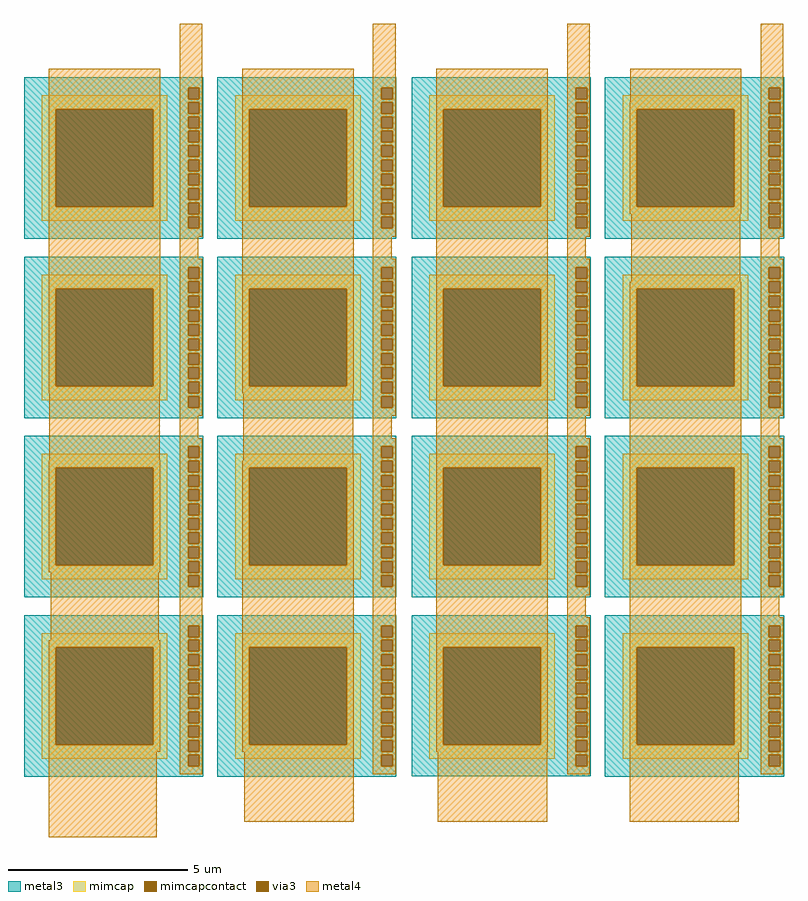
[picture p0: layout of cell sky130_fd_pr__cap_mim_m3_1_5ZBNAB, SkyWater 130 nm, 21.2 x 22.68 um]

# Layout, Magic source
magic
tech sky130A
magscale 1 2
<< metal3 >>
rect -2088 1892 -1089 1950
rect -2088 1828 -1173 1892
rect -1109 1828 -1089 1892
rect -2088 1812 -1089 1828
rect -2088 1748 -1173 1812
rect -1109 1748 -1089 1812
rect -2088 1732 -1089 1748
rect -2088 1668 -1173 1732
rect -1109 1668 -1089 1732
rect -2088 1652 -1089 1668
rect -2088 1588 -1173 1652
rect -1109 1588 -1089 1652
rect -2088 1572 -1089 1588
rect -2088 1508 -1173 1572
rect -1109 1508 -1089 1572
rect -2088 1492 -1089 1508
rect -2088 1428 -1173 1492
rect -1109 1428 -1089 1492
rect -2088 1412 -1089 1428
rect -2088 1348 -1173 1412
rect -1109 1348 -1089 1412
rect -2088 1332 -1089 1348
rect -2088 1268 -1173 1332
rect -1109 1268 -1089 1332
rect -2088 1252 -1089 1268
rect -2088 1188 -1173 1252
rect -1109 1188 -1089 1252
rect -2088 1172 -1089 1188
rect -2088 1108 -1173 1172
rect -1109 1108 -1089 1172
rect -2088 1050 -1089 1108
rect -1009 1892 -10 1950
rect -1009 1828 -94 1892
rect -30 1828 -10 1892
rect -1009 1812 -10 1828
rect -1009 1748 -94 1812
rect -30 1748 -10 1812
rect -1009 1732 -10 1748
rect -1009 1668 -94 1732
rect -30 1668 -10 1732
rect -1009 1652 -10 1668
rect -1009 1588 -94 1652
rect -30 1588 -10 1652
rect -1009 1572 -10 1588
rect -1009 1508 -94 1572
rect -30 1508 -10 1572
rect -1009 1492 -10 1508
rect -1009 1428 -94 1492
rect -30 1428 -10 1492
rect -1009 1412 -10 1428
rect -1009 1348 -94 1412
rect -30 1348 -10 1412
rect -1009 1332 -10 1348
rect -1009 1268 -94 1332
rect -30 1268 -10 1332
rect -1009 1252 -10 1268
rect -1009 1188 -94 1252
rect -30 1188 -10 1252
rect -1009 1172 -10 1188
rect -1009 1108 -94 1172
rect -30 1108 -10 1172
rect -1009 1050 -10 1108
rect 74 1892 1073 1950
rect 74 1828 989 1892
rect 1053 1828 1073 1892
rect 74 1812 1073 1828
rect 74 1748 989 1812
rect 1053 1748 1073 1812
rect 74 1732 1073 1748
rect 74 1668 989 1732
rect 1053 1668 1073 1732
rect 74 1652 1073 1668
rect 74 1588 989 1652
rect 1053 1588 1073 1652
rect 74 1572 1073 1588
rect 74 1508 989 1572
rect 1053 1508 1073 1572
rect 74 1492 1073 1508
rect 74 1428 989 1492
rect 1053 1428 1073 1492
rect 74 1412 1073 1428
rect 74 1348 989 1412
rect 1053 1348 1073 1412
rect 74 1332 1073 1348
rect 74 1268 989 1332
rect 1053 1268 1073 1332
rect 74 1252 1073 1268
rect 74 1188 989 1252
rect 1053 1188 1073 1252
rect 74 1172 1073 1188
rect 74 1108 989 1172
rect 1053 1108 1073 1172
rect 74 1050 1073 1108
rect 1153 1892 2152 1950
rect 1153 1828 2068 1892
rect 2132 1828 2152 1892
rect 1153 1812 2152 1828
rect 1153 1748 2068 1812
rect 2132 1748 2152 1812
rect 1153 1732 2152 1748
rect 1153 1668 2068 1732
rect 2132 1668 2152 1732
rect 1153 1652 2152 1668
rect 1153 1588 2068 1652
rect 2132 1588 2152 1652
rect 1153 1572 2152 1588
rect 1153 1508 2068 1572
rect 2132 1508 2152 1572
rect 1153 1492 2152 1508
rect 1153 1428 2068 1492
rect 2132 1428 2152 1492
rect 1153 1412 2152 1428
rect 1153 1348 2068 1412
rect 2132 1348 2152 1412
rect 1153 1332 2152 1348
rect 1153 1268 2068 1332
rect 2132 1268 2152 1332
rect 1153 1252 2152 1268
rect 1153 1188 2068 1252
rect 2132 1188 2152 1252
rect 1153 1172 2152 1188
rect 1153 1108 2068 1172
rect 2132 1108 2152 1172
rect 1153 1050 2152 1108
rect -2088 892 -1089 950
rect -2088 828 -1173 892
rect -1109 828 -1089 892
rect -2088 812 -1089 828
rect -2088 748 -1173 812
rect -1109 748 -1089 812
rect -2088 732 -1089 748
rect -2088 668 -1173 732
rect -1109 668 -1089 732
rect -2088 652 -1089 668
rect -2088 588 -1173 652
rect -1109 588 -1089 652
rect -2088 572 -1089 588
rect -2088 508 -1173 572
rect -1109 508 -1089 572
rect -2088 492 -1089 508
rect -2088 428 -1173 492
rect -1109 428 -1089 492
rect -2088 412 -1089 428
rect -2088 348 -1173 412
rect -1109 348 -1089 412
rect -2088 332 -1089 348
rect -2088 268 -1173 332
rect -1109 268 -1089 332
rect -2088 252 -1089 268
rect -2088 188 -1173 252
rect -1109 188 -1089 252
rect -2088 172 -1089 188
rect -2088 108 -1173 172
rect -1109 108 -1089 172
rect -2088 50 -1089 108
rect -1009 892 -10 950
rect -1009 828 -94 892
rect -30 828 -10 892
rect -1009 812 -10 828
rect -1009 748 -94 812
rect -30 748 -10 812
rect -1009 732 -10 748
rect -1009 668 -94 732
rect -30 668 -10 732
rect -1009 652 -10 668
rect -1009 588 -94 652
rect -30 588 -10 652
rect -1009 572 -10 588
rect -1009 508 -94 572
rect -30 508 -10 572
rect -1009 492 -10 508
rect -1009 428 -94 492
rect -30 428 -10 492
rect -1009 412 -10 428
rect -1009 348 -94 412
rect -30 348 -10 412
rect -1009 332 -10 348
rect -1009 268 -94 332
rect -30 268 -10 332
rect -1009 252 -10 268
rect -1009 188 -94 252
rect -30 188 -10 252
rect -1009 172 -10 188
rect -1009 108 -94 172
rect -30 108 -10 172
rect -1009 50 -10 108
rect 74 892 1073 950
rect 74 828 989 892
rect 1053 828 1073 892
rect 74 812 1073 828
rect 74 748 989 812
rect 1053 748 1073 812
rect 74 732 1073 748
rect 74 668 989 732
rect 1053 668 1073 732
rect 74 652 1073 668
rect 74 588 989 652
rect 1053 588 1073 652
rect 74 572 1073 588
rect 74 508 989 572
rect 1053 508 1073 572
rect 74 492 1073 508
rect 74 428 989 492
rect 1053 428 1073 492
rect 74 412 1073 428
rect 74 348 989 412
rect 1053 348 1073 412
rect 74 332 1073 348
rect 74 268 989 332
rect 1053 268 1073 332
rect 74 252 1073 268
rect 74 188 989 252
rect 1053 188 1073 252
rect 74 172 1073 188
rect 74 108 989 172
rect 1053 108 1073 172
rect 74 50 1073 108
rect 1153 892 2152 950
rect 1153 828 2068 892
rect 2132 828 2152 892
rect 1153 812 2152 828
rect 1153 748 2068 812
rect 2132 748 2152 812
rect 1153 732 2152 748
rect 1153 668 2068 732
rect 2132 668 2152 732
rect 1153 652 2152 668
rect 1153 588 2068 652
rect 2132 588 2152 652
rect 1153 572 2152 588
rect 1153 508 2068 572
rect 2132 508 2152 572
rect 1153 492 2152 508
rect 1153 428 2068 492
rect 2132 428 2152 492
rect 1153 412 2152 428
rect 1153 348 2068 412
rect 2132 348 2152 412
rect 1153 332 2152 348
rect 1153 268 2068 332
rect 2132 268 2152 332
rect 1153 252 2152 268
rect 1153 188 2068 252
rect 2132 188 2152 252
rect 1153 172 2152 188
rect 1153 108 2068 172
rect 2132 108 2152 172
rect 1153 50 2152 108
rect -2088 -108 -1089 -50
rect -2088 -172 -1173 -108
rect -1109 -172 -1089 -108
rect -2088 -188 -1089 -172
rect -2088 -252 -1173 -188
rect -1109 -252 -1089 -188
rect -2088 -268 -1089 -252
rect -2088 -332 -1173 -268
rect -1109 -332 -1089 -268
rect -2088 -348 -1089 -332
rect -2088 -412 -1173 -348
rect -1109 -412 -1089 -348
rect -2088 -428 -1089 -412
rect -2088 -492 -1173 -428
rect -1109 -492 -1089 -428
rect -2088 -508 -1089 -492
rect -2088 -572 -1173 -508
rect -1109 -572 -1089 -508
rect -2088 -588 -1089 -572
rect -2088 -652 -1173 -588
rect -1109 -652 -1089 -588
rect -2088 -668 -1089 -652
rect -2088 -732 -1173 -668
rect -1109 -732 -1089 -668
rect -2088 -748 -1089 -732
rect -2088 -812 -1173 -748
rect -1109 -812 -1089 -748
rect -2088 -828 -1089 -812
rect -2088 -892 -1173 -828
rect -1109 -892 -1089 -828
rect -2088 -950 -1089 -892
rect -1009 -108 -10 -50
rect -1009 -172 -94 -108
rect -30 -172 -10 -108
rect -1009 -188 -10 -172
rect -1009 -252 -94 -188
rect -30 -252 -10 -188
rect -1009 -268 -10 -252
rect -1009 -332 -94 -268
rect -30 -332 -10 -268
rect -1009 -348 -10 -332
rect -1009 -412 -94 -348
rect -30 -412 -10 -348
rect -1009 -428 -10 -412
rect -1009 -492 -94 -428
rect -30 -492 -10 -428
rect -1009 -508 -10 -492
rect -1009 -572 -94 -508
rect -30 -572 -10 -508
rect -1009 -588 -10 -572
rect -1009 -652 -94 -588
rect -30 -652 -10 -588
rect -1009 -668 -10 -652
rect -1009 -732 -94 -668
rect -30 -732 -10 -668
rect -1009 -748 -10 -732
rect -1009 -812 -94 -748
rect -30 -812 -10 -748
rect -1009 -828 -10 -812
rect -1009 -892 -94 -828
rect -30 -892 -10 -828
rect -1009 -950 -10 -892
rect 74 -108 1073 -50
rect 74 -172 989 -108
rect 1053 -172 1073 -108
rect 74 -188 1073 -172
rect 74 -252 989 -188
rect 1053 -252 1073 -188
rect 74 -268 1073 -252
rect 74 -332 989 -268
rect 1053 -332 1073 -268
rect 74 -348 1073 -332
rect 74 -412 989 -348
rect 1053 -412 1073 -348
rect 74 -428 1073 -412
rect 74 -492 989 -428
rect 1053 -492 1073 -428
rect 74 -508 1073 -492
rect 74 -572 989 -508
rect 1053 -572 1073 -508
rect 74 -588 1073 -572
rect 74 -652 989 -588
rect 1053 -652 1073 -588
rect 74 -668 1073 -652
rect 74 -732 989 -668
rect 1053 -732 1073 -668
rect 74 -748 1073 -732
rect 74 -812 989 -748
rect 1053 -812 1073 -748
rect 74 -828 1073 -812
rect 74 -892 989 -828
rect 1053 -892 1073 -828
rect 74 -950 1073 -892
rect 1153 -108 2152 -50
rect 1153 -172 2068 -108
rect 2132 -172 2152 -108
rect 1153 -188 2152 -172
rect 1153 -252 2068 -188
rect 2132 -252 2152 -188
rect 1153 -268 2152 -252
rect 1153 -332 2068 -268
rect 2132 -332 2152 -268
rect 1153 -348 2152 -332
rect 1153 -412 2068 -348
rect 2132 -412 2152 -348
rect 1153 -428 2152 -412
rect 1153 -492 2068 -428
rect 2132 -492 2152 -428
rect 1153 -508 2152 -492
rect 1153 -572 2068 -508
rect 2132 -572 2152 -508
rect 1153 -588 2152 -572
rect 1153 -652 2068 -588
rect 2132 -652 2152 -588
rect 1153 -668 2152 -652
rect 1153 -732 2068 -668
rect 2132 -732 2152 -668
rect 1153 -748 2152 -732
rect 1153 -812 2068 -748
rect 2132 -812 2152 -748
rect 1153 -828 2152 -812
rect 1153 -892 2068 -828
rect 2132 -892 2152 -828
rect 1153 -950 2152 -892
rect -2088 -1108 -1089 -1050
rect -2088 -1172 -1173 -1108
rect -1109 -1172 -1089 -1108
rect -2088 -1188 -1089 -1172
rect -2088 -1252 -1173 -1188
rect -1109 -1252 -1089 -1188
rect -2088 -1268 -1089 -1252
rect -2088 -1332 -1173 -1268
rect -1109 -1332 -1089 -1268
rect -2088 -1348 -1089 -1332
rect -2088 -1412 -1173 -1348
rect -1109 -1412 -1089 -1348
rect -2088 -1428 -1089 -1412
rect -2088 -1492 -1173 -1428
rect -1109 -1492 -1089 -1428
rect -2088 -1508 -1089 -1492
rect -2088 -1572 -1173 -1508
rect -1109 -1572 -1089 -1508
rect -2088 -1588 -1089 -1572
rect -2088 -1652 -1173 -1588
rect -1109 -1652 -1089 -1588
rect -2088 -1668 -1089 -1652
rect -2088 -1732 -1173 -1668
rect -1109 -1732 -1089 -1668
rect -2088 -1748 -1089 -1732
rect -2088 -1812 -1173 -1748
rect -1109 -1812 -1089 -1748
rect -2088 -1828 -1089 -1812
rect -2088 -1892 -1173 -1828
rect -1109 -1892 -1089 -1828
rect -2088 -1950 -1089 -1892
rect -1009 -1108 -10 -1050
rect -1009 -1172 -94 -1108
rect -30 -1172 -10 -1108
rect -1009 -1188 -10 -1172
rect -1009 -1252 -94 -1188
rect -30 -1252 -10 -1188
rect -1009 -1268 -10 -1252
rect -1009 -1332 -94 -1268
rect -30 -1332 -10 -1268
rect -1009 -1348 -10 -1332
rect -1009 -1412 -94 -1348
rect -30 -1412 -10 -1348
rect -1009 -1428 -10 -1412
rect -1009 -1492 -94 -1428
rect -30 -1492 -10 -1428
rect -1009 -1508 -10 -1492
rect -1009 -1572 -94 -1508
rect -30 -1572 -10 -1508
rect -1009 -1588 -10 -1572
rect -1009 -1652 -94 -1588
rect -30 -1652 -10 -1588
rect -1009 -1668 -10 -1652
rect -1009 -1732 -94 -1668
rect -30 -1732 -10 -1668
rect -1009 -1748 -10 -1732
rect -1009 -1812 -94 -1748
rect -30 -1812 -10 -1748
rect -1009 -1828 -10 -1812
rect -1009 -1892 -94 -1828
rect -30 -1892 -10 -1828
rect -1009 -1950 -10 -1892
rect 74 -1108 1073 -1050
rect 74 -1172 989 -1108
rect 1053 -1172 1073 -1108
rect 74 -1188 1073 -1172
rect 74 -1252 989 -1188
rect 1053 -1252 1073 -1188
rect 74 -1268 1073 -1252
rect 74 -1332 989 -1268
rect 1053 -1332 1073 -1268
rect 74 -1348 1073 -1332
rect 74 -1412 989 -1348
rect 1053 -1412 1073 -1348
rect 74 -1428 1073 -1412
rect 74 -1492 989 -1428
rect 1053 -1492 1073 -1428
rect 74 -1508 1073 -1492
rect 74 -1572 989 -1508
rect 1053 -1572 1073 -1508
rect 74 -1588 1073 -1572
rect 74 -1652 989 -1588
rect 1053 -1652 1073 -1588
rect 74 -1668 1073 -1652
rect 74 -1732 989 -1668
rect 1053 -1732 1073 -1668
rect 74 -1748 1073 -1732
rect 74 -1812 989 -1748
rect 1053 -1812 1073 -1748
rect 74 -1828 1073 -1812
rect 74 -1892 989 -1828
rect 1053 -1892 1073 -1828
rect 74 -1949 1073 -1892
rect 1153 -1108 2152 -1050
rect 1153 -1172 2068 -1108
rect 2132 -1172 2152 -1108
rect 1153 -1188 2152 -1172
rect 1153 -1252 2068 -1188
rect 2132 -1252 2152 -1188
rect 1153 -1268 2152 -1252
rect 1153 -1332 2068 -1268
rect 2132 -1332 2152 -1268
rect 1153 -1348 2152 -1332
rect 1153 -1412 2068 -1348
rect 2132 -1412 2152 -1348
rect 1153 -1428 2152 -1412
rect 1153 -1492 2068 -1428
rect 2132 -1492 2152 -1428
rect 1153 -1508 2152 -1492
rect 1153 -1572 2068 -1508
rect 2132 -1572 2152 -1508
rect 1153 -1588 2152 -1572
rect 1153 -1652 2068 -1588
rect 2132 -1652 2152 -1588
rect 1153 -1668 2152 -1652
rect 1153 -1732 2068 -1668
rect 2132 -1732 2152 -1668
rect 1153 -1748 2152 -1732
rect 1153 -1812 2068 -1748
rect 2132 -1812 2152 -1748
rect 1153 -1828 2152 -1812
rect 1153 -1892 2068 -1828
rect 2132 -1892 2152 -1828
rect 1153 -1950 2152 -1892
<< via3 >>
rect -1173 1828 -1109 1892
rect -1173 1748 -1109 1812
rect -1173 1668 -1109 1732
rect -1173 1588 -1109 1652
rect -1173 1508 -1109 1572
rect -1173 1428 -1109 1492
rect -1173 1348 -1109 1412
rect -1173 1268 -1109 1332
rect -1173 1188 -1109 1252
rect -1173 1108 -1109 1172
rect -94 1828 -30 1892
rect -94 1748 -30 1812
rect -94 1668 -30 1732
rect -94 1588 -30 1652
rect -94 1508 -30 1572
rect -94 1428 -30 1492
rect -94 1348 -30 1412
rect -94 1268 -30 1332
rect -94 1188 -30 1252
rect -94 1108 -30 1172
rect 989 1828 1053 1892
rect 989 1748 1053 1812
rect 989 1668 1053 1732
rect 989 1588 1053 1652
rect 989 1508 1053 1572
rect 989 1428 1053 1492
rect 989 1348 1053 1412
rect 989 1268 1053 1332
rect 989 1188 1053 1252
rect 989 1108 1053 1172
rect 2068 1828 2132 1892
rect 2068 1748 2132 1812
rect 2068 1668 2132 1732
rect 2068 1588 2132 1652
rect 2068 1508 2132 1572
rect 2068 1428 2132 1492
rect 2068 1348 2132 1412
rect 2068 1268 2132 1332
rect 2068 1188 2132 1252
rect 2068 1108 2132 1172
rect -1173 828 -1109 892
rect -1173 748 -1109 812
rect -1173 668 -1109 732
rect -1173 588 -1109 652
rect -1173 508 -1109 572
rect -1173 428 -1109 492
rect -1173 348 -1109 412
rect -1173 268 -1109 332
rect -1173 188 -1109 252
rect -1173 108 -1109 172
rect -94 828 -30 892
rect -94 748 -30 812
rect -94 668 -30 732
rect -94 588 -30 652
rect -94 508 -30 572
rect -94 428 -30 492
rect -94 348 -30 412
rect -94 268 -30 332
rect -94 188 -30 252
rect -94 108 -30 172
rect 989 828 1053 892
rect 989 748 1053 812
rect 989 668 1053 732
rect 989 588 1053 652
rect 989 508 1053 572
rect 989 428 1053 492
rect 989 348 1053 412
rect 989 268 1053 332
rect 989 188 1053 252
rect 989 108 1053 172
rect 2068 828 2132 892
rect 2068 748 2132 812
rect 2068 668 2132 732
rect 2068 588 2132 652
rect 2068 508 2132 572
rect 2068 428 2132 492
rect 2068 348 2132 412
rect 2068 268 2132 332
rect 2068 188 2132 252
rect 2068 108 2132 172
rect -1173 -172 -1109 -108
rect -1173 -252 -1109 -188
rect -1173 -332 -1109 -268
rect -1173 -412 -1109 -348
rect -1173 -492 -1109 -428
rect -1173 -572 -1109 -508
rect -1173 -652 -1109 -588
rect -1173 -732 -1109 -668
rect -1173 -812 -1109 -748
rect -1173 -892 -1109 -828
rect -94 -172 -30 -108
rect -94 -252 -30 -188
rect -94 -332 -30 -268
rect -94 -412 -30 -348
rect -94 -492 -30 -428
rect -94 -572 -30 -508
rect -94 -652 -30 -588
rect -94 -732 -30 -668
rect -94 -812 -30 -748
rect -94 -892 -30 -828
rect 989 -172 1053 -108
rect 989 -252 1053 -188
rect 989 -332 1053 -268
rect 989 -412 1053 -348
rect 989 -492 1053 -428
rect 989 -572 1053 -508
rect 989 -652 1053 -588
rect 989 -732 1053 -668
rect 989 -812 1053 -748
rect 989 -892 1053 -828
rect 2068 -172 2132 -108
rect 2068 -252 2132 -188
rect 2068 -332 2132 -268
rect 2068 -412 2132 -348
rect 2068 -492 2132 -428
rect 2068 -572 2132 -508
rect 2068 -652 2132 -588
rect 2068 -732 2132 -668
rect 2068 -812 2132 -748
rect 2068 -892 2132 -828
rect -1173 -1172 -1109 -1108
rect -1173 -1252 -1109 -1188
rect -1173 -1332 -1109 -1268
rect -1173 -1412 -1109 -1348
rect -1173 -1492 -1109 -1428
rect -1173 -1572 -1109 -1508
rect -1173 -1652 -1109 -1588
rect -1173 -1732 -1109 -1668
rect -1173 -1812 -1109 -1748
rect -1173 -1892 -1109 -1828
rect -94 -1172 -30 -1108
rect -94 -1252 -30 -1188
rect -94 -1332 -30 -1268
rect -94 -1412 -30 -1348
rect -94 -1492 -30 -1428
rect -94 -1572 -30 -1508
rect -94 -1652 -30 -1588
rect -94 -1732 -30 -1668
rect -94 -1812 -30 -1748
rect -94 -1892 -30 -1828
rect 989 -1172 1053 -1108
rect 989 -1252 1053 -1188
rect 989 -1332 1053 -1268
rect 989 -1412 1053 -1348
rect 989 -1492 1053 -1428
rect 989 -1572 1053 -1508
rect 989 -1652 1053 -1588
rect 989 -1732 1053 -1668
rect 989 -1812 1053 -1748
rect 989 -1892 1053 -1828
rect 2068 -1172 2132 -1108
rect 2068 -1252 2132 -1188
rect 2068 -1332 2132 -1268
rect 2068 -1412 2132 -1348
rect 2068 -1492 2132 -1428
rect 2068 -1572 2132 -1508
rect 2068 -1652 2132 -1588
rect 2068 -1732 2132 -1668
rect 2068 -1812 2132 -1748
rect 2068 -1892 2132 -1828
<< mimcap >>
rect -1988 1772 -1288 1850
rect -1988 1228 -1910 1772
rect -1366 1228 -1288 1772
rect -1988 1150 -1288 1228
rect -909 1772 -209 1850
rect -909 1228 -831 1772
rect -287 1228 -209 1772
rect -909 1150 -209 1228
rect 174 1772 874 1850
rect 174 1228 252 1772
rect 796 1228 874 1772
rect 174 1150 874 1228
rect 1253 1772 1953 1850
rect 1253 1228 1331 1772
rect 1875 1228 1953 1772
rect 1253 1150 1953 1228
rect -1988 772 -1288 850
rect -1988 228 -1910 772
rect -1366 228 -1288 772
rect -1988 150 -1288 228
rect -909 772 -209 850
rect -909 228 -831 772
rect -287 228 -209 772
rect -909 150 -209 228
rect 174 772 874 850
rect 174 228 252 772
rect 796 228 874 772
rect 174 150 874 228
rect 1253 772 1953 850
rect 1253 228 1331 772
rect 1875 228 1953 772
rect 1253 150 1953 228
rect -1988 -228 -1288 -150
rect -1988 -772 -1910 -228
rect -1366 -772 -1288 -228
rect -1988 -850 -1288 -772
rect -909 -228 -209 -150
rect -909 -772 -831 -228
rect -287 -772 -209 -228
rect -909 -850 -209 -772
rect 174 -228 874 -150
rect 174 -772 252 -228
rect 796 -772 874 -228
rect 174 -850 874 -772
rect 1253 -228 1953 -150
rect 1253 -772 1331 -228
rect 1875 -772 1953 -228
rect 1253 -850 1953 -772
rect -1988 -1228 -1288 -1150
rect -1988 -1772 -1910 -1228
rect -1366 -1772 -1288 -1228
rect -1988 -1850 -1288 -1772
rect -909 -1228 -209 -1150
rect -909 -1772 -831 -1228
rect -287 -1772 -209 -1228
rect -909 -1850 -209 -1772
rect 174 -1228 874 -1150
rect 174 -1772 252 -1228
rect 796 -1772 874 -1228
rect 174 -1850 874 -1772
rect 1253 -1228 1953 -1150
rect 1253 -1772 1331 -1228
rect 1875 -1772 1953 -1228
rect 1253 -1850 1953 -1772
<< mimcapcontact >>
rect -1910 1228 -1366 1772
rect -831 1228 -287 1772
rect 252 1228 796 1772
rect 1331 1228 1875 1772
rect -1910 228 -1366 772
rect -831 228 -287 772
rect 252 228 796 772
rect 1331 228 1875 772
rect -1910 -772 -1366 -228
rect -831 -772 -287 -228
rect 252 -772 796 -228
rect 1331 -772 1875 -228
rect -1910 -1772 -1366 -1228
rect -831 -1772 -287 -1228
rect 252 -1772 796 -1228
rect 1331 -1772 1875 -1228
<< metal4 >>
rect -1949 1772 -1327 2000
rect -1949 1228 -1910 1772
rect -1366 1228 -1327 1772
rect -1949 772 -1327 1228
rect -1949 228 -1910 772
rect -1366 228 -1327 772
rect -1949 189 -1327 228
rect -1220 1892 -1093 2249
rect -1220 1828 -1173 1892
rect -1109 1828 -1093 1892
rect -1220 1812 -1093 1828
rect -1220 1748 -1173 1812
rect -1109 1748 -1093 1812
rect -1220 1732 -1093 1748
rect -1220 1668 -1173 1732
rect -1109 1668 -1093 1732
rect -1220 1652 -1093 1668
rect -1220 1588 -1173 1652
rect -1109 1588 -1093 1652
rect -1220 1572 -1093 1588
rect -1220 1508 -1173 1572
rect -1109 1508 -1093 1572
rect -1220 1492 -1093 1508
rect -1220 1428 -1173 1492
rect -1109 1428 -1093 1492
rect -1220 1412 -1093 1428
rect -1220 1348 -1173 1412
rect -1109 1348 -1093 1412
rect -1220 1332 -1093 1348
rect -1220 1268 -1173 1332
rect -1109 1268 -1093 1332
rect -1220 1252 -1093 1268
rect -1220 1188 -1173 1252
rect -1109 1188 -1093 1252
rect -1220 1172 -1093 1188
rect -1220 1108 -1173 1172
rect -1109 1108 -1093 1172
rect -1220 1062 -1093 1108
rect -870 1811 -249 2000
rect -141 1892 -14 2249
rect -141 1828 -94 1892
rect -30 1828 -14 1892
rect -141 1812 -14 1828
rect -870 1772 -248 1811
rect -870 1228 -831 1772
rect -287 1228 -248 1772
rect -1220 938 -1116 1062
rect -1220 892 -1093 938
rect -1220 828 -1173 892
rect -1109 828 -1093 892
rect -1220 812 -1093 828
rect -1220 748 -1173 812
rect -1109 748 -1093 812
rect -1220 732 -1093 748
rect -1220 668 -1173 732
rect -1109 668 -1093 732
rect -1220 652 -1093 668
rect -1220 588 -1173 652
rect -1109 588 -1093 652
rect -1220 572 -1093 588
rect -1220 508 -1173 572
rect -1109 508 -1093 572
rect -1220 492 -1093 508
rect -1220 428 -1173 492
rect -1109 428 -1093 492
rect -1220 412 -1093 428
rect -1220 348 -1173 412
rect -1109 348 -1093 412
rect -1220 332 -1093 348
rect -1220 268 -1173 332
rect -1109 268 -1093 332
rect -1220 252 -1093 268
rect -1946 -189 -1331 189
rect -1220 188 -1173 252
rect -1109 188 -1093 252
rect -870 772 -248 1228
rect -870 228 -831 772
rect -287 228 -248 772
rect -870 189 -248 228
rect -141 1748 -94 1812
rect -30 1748 -14 1812
rect -141 1732 -14 1748
rect -141 1668 -94 1732
rect -30 1668 -14 1732
rect -141 1652 -14 1668
rect -141 1588 -94 1652
rect -30 1588 -14 1652
rect -141 1572 -14 1588
rect -141 1508 -94 1572
rect -30 1508 -14 1572
rect -141 1492 -14 1508
rect -141 1428 -94 1492
rect -30 1428 -14 1492
rect -141 1412 -14 1428
rect -141 1348 -94 1412
rect -30 1348 -14 1412
rect -141 1332 -14 1348
rect -141 1268 -94 1332
rect -30 1268 -14 1332
rect -141 1252 -14 1268
rect -141 1188 -94 1252
rect -30 1188 -14 1252
rect -141 1172 -14 1188
rect -141 1108 -94 1172
rect -30 1108 -14 1172
rect -141 1062 -14 1108
rect 213 1772 835 2000
rect 213 1228 252 1772
rect 796 1228 835 1772
rect -141 938 -37 1062
rect -141 892 -14 938
rect -141 828 -94 892
rect -30 828 -14 892
rect -141 812 -14 828
rect -141 748 -94 812
rect -30 748 -14 812
rect -141 732 -14 748
rect -141 668 -94 732
rect -30 668 -14 732
rect -141 652 -14 668
rect -141 588 -94 652
rect -30 588 -14 652
rect -141 572 -14 588
rect -141 508 -94 572
rect -30 508 -14 572
rect -141 492 -14 508
rect -141 428 -94 492
rect -30 428 -14 492
rect -141 412 -14 428
rect -141 348 -94 412
rect -30 348 -14 412
rect -141 332 -14 348
rect -141 268 -94 332
rect -30 268 -14 332
rect -141 252 -14 268
rect -1220 172 -1093 188
rect -1220 108 -1173 172
rect -1109 108 -1093 172
rect -1220 62 -1093 108
rect -1220 -62 -1116 62
rect -1220 -108 -1093 -62
rect -1220 -172 -1173 -108
rect -1109 -172 -1093 -108
rect -1220 -188 -1093 -172
rect -1949 -228 -1327 -189
rect -1949 -772 -1910 -228
rect -1366 -772 -1327 -228
rect -1949 -811 -1327 -772
rect -1220 -252 -1173 -188
rect -1109 -252 -1093 -188
rect -864 -189 -252 189
rect -141 188 -94 252
rect -30 188 -14 252
rect -141 172 -14 188
rect -141 108 -94 172
rect -30 108 -14 172
rect -141 62 -14 108
rect 213 772 835 1228
rect 213 228 252 772
rect 796 228 835 772
rect -141 -62 -37 62
rect -141 -108 -14 -62
rect -141 -172 -94 -108
rect -30 -172 -14 -108
rect -141 -188 -14 -172
rect -1220 -268 -1093 -252
rect -1220 -332 -1173 -268
rect -1109 -332 -1093 -268
rect -1220 -348 -1093 -332
rect -1220 -412 -1173 -348
rect -1109 -412 -1093 -348
rect -1220 -428 -1093 -412
rect -1220 -492 -1173 -428
rect -1109 -492 -1093 -428
rect -1220 -508 -1093 -492
rect -1220 -572 -1173 -508
rect -1109 -572 -1093 -508
rect -1220 -588 -1093 -572
rect -1220 -652 -1173 -588
rect -1109 -652 -1093 -588
rect -1220 -668 -1093 -652
rect -1220 -732 -1173 -668
rect -1109 -732 -1093 -668
rect -1220 -748 -1093 -732
rect -1940 -1189 -1337 -811
rect -1220 -812 -1173 -748
rect -1109 -812 -1093 -748
rect -1220 -828 -1093 -812
rect -1220 -892 -1173 -828
rect -1109 -892 -1093 -828
rect -1220 -1108 -1093 -892
rect -1220 -1172 -1173 -1108
rect -1109 -1172 -1093 -1108
rect -1220 -1188 -1093 -1172
rect -1949 -1228 -1327 -1189
rect -1949 -1772 -1910 -1228
rect -1366 -1772 -1327 -1228
rect -1949 -1811 -1327 -1772
rect -1220 -1252 -1173 -1188
rect -1109 -1252 -1093 -1188
rect -1220 -1268 -1093 -1252
rect -1220 -1332 -1173 -1268
rect -1109 -1332 -1093 -1268
rect -1220 -1348 -1093 -1332
rect -1220 -1412 -1173 -1348
rect -1109 -1412 -1093 -1348
rect -1220 -1428 -1093 -1412
rect -1220 -1492 -1173 -1428
rect -1109 -1492 -1093 -1428
rect -1220 -1508 -1093 -1492
rect -1220 -1572 -1173 -1508
rect -1109 -1572 -1093 -1508
rect -1220 -1588 -1093 -1572
rect -1220 -1652 -1173 -1588
rect -1109 -1652 -1093 -1588
rect -1220 -1668 -1093 -1652
rect -1220 -1732 -1173 -1668
rect -1109 -1732 -1093 -1668
rect -1220 -1748 -1093 -1732
rect -1949 -2288 -1348 -1811
rect -1220 -1812 -1173 -1748
rect -1109 -1812 -1093 -1748
rect -870 -228 -248 -189
rect -870 -772 -831 -228
rect -287 -772 -248 -228
rect -870 -1228 -248 -772
rect -870 -1772 -831 -1228
rect -287 -1772 -248 -1228
rect -870 -1811 -248 -1772
rect -1220 -1828 -1093 -1812
rect -1220 -1892 -1173 -1828
rect -1109 -1892 -1093 -1828
rect -1220 -1938 -1093 -1892
rect -860 -2202 -248 -1811
rect -141 -252 -94 -188
rect -30 -252 -14 -188
rect -141 -268 -14 -252
rect -141 -332 -94 -268
rect -30 -332 -14 -268
rect -141 -348 -14 -332
rect -141 -412 -94 -348
rect -30 -412 -14 -348
rect -141 -428 -14 -412
rect -141 -492 -94 -428
rect -30 -492 -14 -428
rect -141 -508 -14 -492
rect -141 -572 -94 -508
rect -30 -572 -14 -508
rect -141 -588 -14 -572
rect -141 -652 -94 -588
rect -30 -652 -14 -588
rect -141 -668 -14 -652
rect -141 -732 -94 -668
rect -30 -732 -14 -668
rect -141 -748 -14 -732
rect -141 -812 -94 -748
rect -30 -812 -14 -748
rect -141 -828 -14 -812
rect -141 -892 -94 -828
rect -30 -892 -14 -828
rect -141 -1108 -14 -892
rect -141 -1172 -94 -1108
rect -30 -1172 -14 -1108
rect -141 -1188 -14 -1172
rect -141 -1252 -94 -1188
rect -30 -1252 -14 -1188
rect -141 -1268 -14 -1252
rect -141 -1332 -94 -1268
rect -30 -1332 -14 -1268
rect -141 -1348 -14 -1332
rect -141 -1412 -94 -1348
rect -30 -1412 -14 -1348
rect -141 -1428 -14 -1412
rect -141 -1492 -94 -1428
rect -30 -1492 -14 -1428
rect -141 -1508 -14 -1492
rect -141 -1572 -94 -1508
rect -30 -1572 -14 -1508
rect -141 -1588 -14 -1572
rect -141 -1652 -94 -1588
rect -30 -1652 -14 -1588
rect -141 -1668 -14 -1652
rect -141 -1732 -94 -1668
rect -30 -1732 -14 -1668
rect -141 -1748 -14 -1732
rect -141 -1812 -94 -1748
rect -30 -1812 -14 -1748
rect 213 -228 835 228
rect 213 -772 252 -228
rect 796 -772 835 -228
rect 213 -1228 835 -772
rect 213 -1772 252 -1228
rect 796 -1772 835 -1228
rect 213 -1811 835 -1772
rect 942 1892 1069 2249
rect 942 1828 989 1892
rect 1053 1828 1069 1892
rect 942 1812 1069 1828
rect 942 1748 989 1812
rect 1053 1748 1069 1812
rect 1293 1811 1913 2000
rect 2021 1892 2148 2249
rect 2021 1828 2068 1892
rect 2132 1828 2148 1892
rect 2021 1812 2148 1828
rect 942 1732 1069 1748
rect 942 1668 989 1732
rect 1053 1668 1069 1732
rect 942 1652 1069 1668
rect 942 1588 989 1652
rect 1053 1588 1069 1652
rect 942 1572 1069 1588
rect 942 1508 989 1572
rect 1053 1508 1069 1572
rect 942 1492 1069 1508
rect 942 1428 989 1492
rect 1053 1428 1069 1492
rect 942 1412 1069 1428
rect 942 1348 989 1412
rect 1053 1348 1069 1412
rect 942 1332 1069 1348
rect 942 1268 989 1332
rect 1053 1268 1069 1332
rect 942 1252 1069 1268
rect 942 1188 989 1252
rect 1053 1188 1069 1252
rect 1292 1772 1914 1811
rect 1292 1228 1331 1772
rect 1875 1228 1914 1772
rect 1292 1189 1914 1228
rect 2021 1748 2068 1812
rect 2132 1748 2148 1812
rect 2021 1732 2148 1748
rect 2021 1668 2068 1732
rect 2132 1668 2148 1732
rect 2021 1652 2148 1668
rect 2021 1588 2068 1652
rect 2132 1588 2148 1652
rect 2021 1572 2148 1588
rect 2021 1508 2068 1572
rect 2132 1508 2148 1572
rect 2021 1492 2148 1508
rect 2021 1428 2068 1492
rect 2132 1428 2148 1492
rect 2021 1412 2148 1428
rect 2021 1348 2068 1412
rect 2132 1348 2148 1412
rect 2021 1332 2148 1348
rect 2021 1268 2068 1332
rect 2132 1268 2148 1332
rect 2021 1252 2148 1268
rect 942 1172 1069 1188
rect 942 1108 989 1172
rect 1053 1108 1069 1172
rect 942 1062 1069 1108
rect 942 938 1046 1062
rect 942 892 1069 938
rect 942 828 989 892
rect 1053 828 1069 892
rect 942 812 1069 828
rect 942 748 989 812
rect 1053 748 1069 812
rect 1300 811 1907 1189
rect 2021 1188 2068 1252
rect 2132 1188 2148 1252
rect 2021 1172 2148 1188
rect 2021 1108 2068 1172
rect 2132 1108 2148 1172
rect 2021 1062 2148 1108
rect 2021 938 2125 1062
rect 2021 892 2148 938
rect 2021 828 2068 892
rect 2132 828 2148 892
rect 2021 812 2148 828
rect 942 732 1069 748
rect 942 668 989 732
rect 1053 668 1069 732
rect 942 652 1069 668
rect 942 588 989 652
rect 1053 588 1069 652
rect 942 572 1069 588
rect 942 508 989 572
rect 1053 508 1069 572
rect 942 492 1069 508
rect 942 428 989 492
rect 1053 428 1069 492
rect 942 412 1069 428
rect 942 348 989 412
rect 1053 348 1069 412
rect 942 332 1069 348
rect 942 268 989 332
rect 1053 268 1069 332
rect 942 252 1069 268
rect 942 188 989 252
rect 1053 188 1069 252
rect 942 172 1069 188
rect 942 108 989 172
rect 1053 108 1069 172
rect 942 62 1069 108
rect 1292 772 1914 811
rect 1292 228 1331 772
rect 1875 228 1914 772
rect 942 -62 1046 62
rect 942 -108 1069 -62
rect 942 -172 989 -108
rect 1053 -172 1069 -108
rect 942 -188 1069 -172
rect 942 -252 989 -188
rect 1053 -252 1069 -188
rect 942 -268 1069 -252
rect 942 -332 989 -268
rect 1053 -332 1069 -268
rect 942 -348 1069 -332
rect 942 -412 989 -348
rect 1053 -412 1069 -348
rect 942 -428 1069 -412
rect 942 -492 989 -428
rect 1053 -492 1069 -428
rect 942 -508 1069 -492
rect 942 -572 989 -508
rect 1053 -572 1069 -508
rect 942 -588 1069 -572
rect 942 -652 989 -588
rect 1053 -652 1069 -588
rect 942 -668 1069 -652
rect 942 -732 989 -668
rect 1053 -732 1069 -668
rect 942 -748 1069 -732
rect 942 -812 989 -748
rect 1053 -812 1069 -748
rect 942 -828 1069 -812
rect 942 -892 989 -828
rect 1053 -892 1069 -828
rect 942 -938 1069 -892
rect 1292 -228 1914 228
rect 1292 -772 1331 -228
rect 1875 -772 1914 -228
rect 942 -1062 1046 -938
rect 942 -1108 1069 -1062
rect 942 -1172 989 -1108
rect 1053 -1172 1069 -1108
rect 942 -1188 1069 -1172
rect 942 -1252 989 -1188
rect 1053 -1252 1069 -1188
rect 942 -1268 1069 -1252
rect 942 -1332 989 -1268
rect 1053 -1332 1069 -1268
rect 942 -1348 1069 -1332
rect 942 -1412 989 -1348
rect 1053 -1412 1069 -1348
rect 942 -1428 1069 -1412
rect 942 -1492 989 -1428
rect 1053 -1492 1069 -1428
rect 942 -1508 1069 -1492
rect 942 -1572 989 -1508
rect 1053 -1572 1069 -1508
rect 942 -1588 1069 -1572
rect 942 -1652 989 -1588
rect 1053 -1652 1069 -1588
rect 942 -1668 1069 -1652
rect 942 -1732 989 -1668
rect 1053 -1732 1069 -1668
rect 942 -1748 1069 -1732
rect -141 -1828 -14 -1812
rect -141 -1892 -94 -1828
rect -30 -1892 -14 -1828
rect -141 -1938 -14 -1892
rect 219 -2202 830 -1811
rect 942 -1812 989 -1748
rect 1053 -1812 1069 -1748
rect 942 -1828 1069 -1812
rect 942 -1892 989 -1828
rect 1053 -1892 1069 -1828
rect 942 -1938 1069 -1892
rect 1292 -1228 1914 -772
rect 1292 -1772 1331 -1228
rect 1875 -1772 1914 -1228
rect 1292 -1811 1914 -1772
rect 2021 748 2068 812
rect 2132 748 2148 812
rect 2021 732 2148 748
rect 2021 668 2068 732
rect 2132 668 2148 732
rect 2021 652 2148 668
rect 2021 588 2068 652
rect 2132 588 2148 652
rect 2021 572 2148 588
rect 2021 508 2068 572
rect 2132 508 2148 572
rect 2021 492 2148 508
rect 2021 428 2068 492
rect 2132 428 2148 492
rect 2021 412 2148 428
rect 2021 348 2068 412
rect 2132 348 2148 412
rect 2021 332 2148 348
rect 2021 268 2068 332
rect 2132 268 2148 332
rect 2021 252 2148 268
rect 2021 188 2068 252
rect 2132 188 2148 252
rect 2021 172 2148 188
rect 2021 108 2068 172
rect 2132 108 2148 172
rect 2021 62 2148 108
rect 2021 -62 2125 62
rect 2021 -108 2148 -62
rect 2021 -172 2068 -108
rect 2132 -172 2148 -108
rect 2021 -188 2148 -172
rect 2021 -252 2068 -188
rect 2132 -252 2148 -188
rect 2021 -268 2148 -252
rect 2021 -332 2068 -268
rect 2132 -332 2148 -268
rect 2021 -348 2148 -332
rect 2021 -412 2068 -348
rect 2132 -412 2148 -348
rect 2021 -428 2148 -412
rect 2021 -492 2068 -428
rect 2132 -492 2148 -428
rect 2021 -508 2148 -492
rect 2021 -572 2068 -508
rect 2132 -572 2148 -508
rect 2021 -588 2148 -572
rect 2021 -652 2068 -588
rect 2132 -652 2148 -588
rect 2021 -668 2148 -652
rect 2021 -732 2068 -668
rect 2132 -732 2148 -668
rect 2021 -748 2148 -732
rect 2021 -812 2068 -748
rect 2132 -812 2148 -748
rect 2021 -828 2148 -812
rect 2021 -892 2068 -828
rect 2132 -892 2148 -828
rect 2021 -938 2148 -892
rect 2021 -1062 2125 -938
rect 2021 -1108 2148 -1062
rect 2021 -1172 2068 -1108
rect 2132 -1172 2148 -1108
rect 2021 -1188 2148 -1172
rect 2021 -1252 2068 -1188
rect 2132 -1252 2148 -1188
rect 2021 -1268 2148 -1252
rect 2021 -1332 2068 -1268
rect 2132 -1332 2148 -1268
rect 2021 -1348 2148 -1332
rect 2021 -1412 2068 -1348
rect 2132 -1412 2148 -1348
rect 2021 -1428 2148 -1412
rect 2021 -1492 2068 -1428
rect 2132 -1492 2148 -1428
rect 2021 -1508 2148 -1492
rect 2021 -1572 2068 -1508
rect 2132 -1572 2148 -1508
rect 2021 -1588 2148 -1572
rect 2021 -1652 2068 -1588
rect 2132 -1652 2148 -1588
rect 2021 -1668 2148 -1652
rect 2021 -1732 2068 -1668
rect 2132 -1732 2148 -1668
rect 2021 -1748 2148 -1732
rect 1292 -2202 1900 -1811
rect 2021 -1812 2068 -1748
rect 2132 -1812 2148 -1748
rect 2021 -1828 2148 -1812
rect 2021 -1892 2068 -1828
rect 2132 -1892 2148 -1828
rect 2021 -1938 2148 -1892
<< properties >>
string FIXED_BBOX 1029 1050 1929 1950
<< end >>
